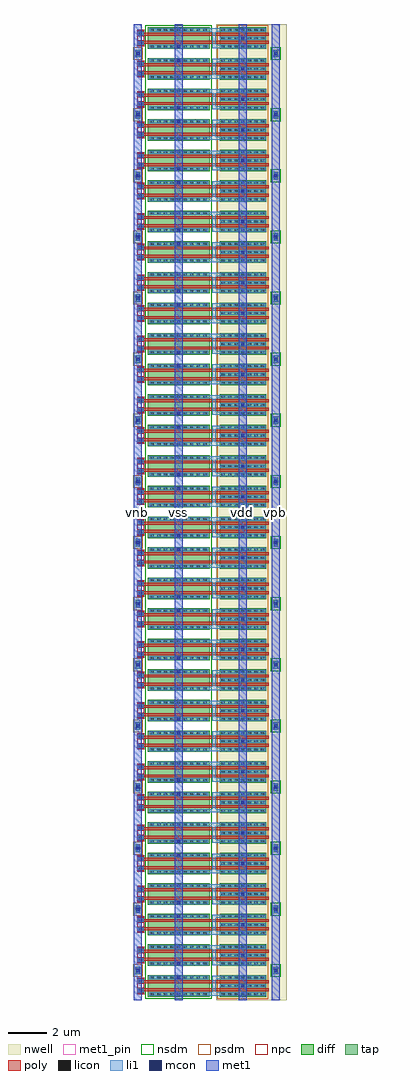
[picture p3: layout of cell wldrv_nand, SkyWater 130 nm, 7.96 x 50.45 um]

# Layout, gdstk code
import gdstk
lib = gdstk.Library(unit=1e-6, precision=1e-09)
def R(c, l, rs):  # rectangles x0, y0, x1, y1
    for r in rs: c.add(gdstk.rectangle(r[:2], r[2:], *l))
def A(c, l, x, y, w, h, nx, ny, dx, dy):  # array of equal rectangles
    R(c, l, [(x+i*dx, y+j*dy, x+i*dx+w, y+j*dy+h) for i in range(nx) for j in range(ny)])
nwell = (64, 20)
diff = (65, 20)
tap = (65, 44)
poly = (66, 20)
licon = (66, 44)
li1 = (67, 20)
mcon = (67, 44)
met1_pin = (68, 16)
met1 = (68, 20)
nsdm = (93, 44)
psdm = (94, 20)
npc = (95, 20)

ntap_1x1v = lib.new_cell('ntap_1x1v')
R(ntap_1x1v, tap, [(-0.04,-0.12,0.21,0.29)])
R(ntap_1x1v, licon, [(0,0,0.17,0.17)])
R(ntap_1x1v, li1, [(0,-0.08,0.17,0.25)])
R(ntap_1x1v, nsdm, [(-0.165,-0.245,0.335,0.415)])

ptap_1x1v = lib.new_cell('ptap_1x1v')
R(ptap_1x1v, tap, [(-0.04,-0.12,0.21,0.29)])
R(ptap_1x1v, licon, [(0,0,0.17,0.17)])
R(ptap_1x1v, li1, [(0,-0.08,0.17,0.25)])
R(ptap_1x1v, psdm, [(-0.165,-0.245,0.335,0.415)])

viali_1x1v = lib.new_cell('viali_1x1v')
R(viali_1x1v, li1, [(0,0,0.17,0.17)])
R(viali_1x1v, mcon, [(0,0,0.17,0.17)])
R(viali_1x1v, met1, [(-0.03,-0.06,0.2,0.23)])

viali_1x1h = lib.new_cell('viali_1x1h')
R(viali_1x1h, li1, [(0,0,0.17,0.17)])
R(viali_1x1h, mcon, [(0,0,0.17,0.17)])
R(viali_1x1h, met1, [(-0.06,-0.03,0.23,0.2)])

wldrv_nand_route = lib.new_cell('wldrv_nand_route')
R(wldrv_nand_route, met1, [(-0.715,-0.18,-0.295,50.27), (1.39,-0.18,1.81,50.27), (4.71,-0.18,5.13,50.27), (6.415,-0.18,6.835,50.27)])
wldrv_nand_route.add(gdstk.Reference(viali_1x1v, (6.54,1.26)))
wldrv_nand_route.add(gdstk.Reference(viali_1x1v, (6.54,4.42)))
wldrv_nand_route.add(gdstk.Reference(viali_1x1v, (6.54,7.58)))
wldrv_nand_route.add(gdstk.Reference(viali_1x1v, (6.54,10.74)))
wldrv_nand_route.add(gdstk.Reference(viali_1x1v, (6.54,13.9)))
wldrv_nand_route.add(gdstk.Reference(viali_1x1v, (6.54,17.06)))
wldrv_nand_route.add(gdstk.Reference(viali_1x1v, (6.54,20.22)))
wldrv_nand_route.add(gdstk.Reference(viali_1x1v, (6.54,23.38)))
wldrv_nand_route.add(gdstk.Reference(viali_1x1v, (6.54,26.54)))
wldrv_nand_route.add(gdstk.Reference(viali_1x1v, (6.54,29.7)))
wldrv_nand_route.add(gdstk.Reference(viali_1x1v, (6.54,32.86)))
wldrv_nand_route.add(gdstk.Reference(viali_1x1v, (6.54,36.02)))
wldrv_nand_route.add(gdstk.Reference(viali_1x1v, (6.54,39.18)))
wldrv_nand_route.add(gdstk.Reference(viali_1x1v, (6.54,42.34)))
wldrv_nand_route.add(gdstk.Reference(viali_1x1v, (6.54,45.5)))
wldrv_nand_route.add(gdstk.Reference(viali_1x1v, (6.54,48.66)))
wldrv_nand_route.add(gdstk.Reference(viali_1x1v, (-0.59,1.26)))
wldrv_nand_route.add(gdstk.Reference(viali_1x1v, (-0.59,4.42)))
wldrv_nand_route.add(gdstk.Reference(viali_1x1v, (-0.59,7.58)))
wldrv_nand_route.add(gdstk.Reference(viali_1x1v, (-0.59,10.74)))
wldrv_nand_route.add(gdstk.Reference(viali_1x1v, (-0.59,13.9)))
wldrv_nand_route.add(gdstk.Reference(viali_1x1v, (-0.59,17.06)))
wldrv_nand_route.add(gdstk.Reference(viali_1x1v, (-0.59,20.22)))
wldrv_nand_route.add(gdstk.Reference(viali_1x1v, (-0.59,23.38)))
wldrv_nand_route.add(gdstk.Reference(viali_1x1v, (-0.59,26.54)))
wldrv_nand_route.add(gdstk.Reference(viali_1x1v, (-0.59,29.7)))
wldrv_nand_route.add(gdstk.Reference(viali_1x1v, (-0.59,32.86)))
wldrv_nand_route.add(gdstk.Reference(viali_1x1v, (-0.59,36.02)))
wldrv_nand_route.add(gdstk.Reference(viali_1x1v, (-0.59,39.18)))
wldrv_nand_route.add(gdstk.Reference(viali_1x1v, (-0.59,42.34)))
wldrv_nand_route.add(gdstk.Reference(viali_1x1v, (-0.59,45.5)))
wldrv_nand_route.add(gdstk.Reference(viali_1x1v, (-0.59,48.66)))
wldrv_nand_route.add(gdstk.Reference(viali_1x1h, (4.835,0.47)))
wldrv_nand_route.add(gdstk.Reference(viali_1x1h, (4.835,2.05)))
wldrv_nand_route.add(gdstk.Reference(viali_1x1h, (4.835,3.63)))
wldrv_nand_route.add(gdstk.Reference(viali_1x1h, (4.835,5.21)))
wldrv_nand_route.add(gdstk.Reference(viali_1x1h, (4.835,6.79)))
wldrv_nand_route.add(gdstk.Reference(viali_1x1h, (4.835,8.37)))
wldrv_nand_route.add(gdstk.Reference(viali_1x1h, (4.835,9.95)))
wldrv_nand_route.add(gdstk.Reference(viali_1x1h, (4.835,11.53)))
wldrv_nand_route.add(gdstk.Reference(viali_1x1h, (4.835,13.11)))
wldrv_nand_route.add(gdstk.Reference(viali_1x1h, (4.835,14.69)))
wldrv_nand_route.add(gdstk.Reference(viali_1x1h, (4.835,16.27)))
wldrv_nand_route.add(gdstk.Reference(viali_1x1h, (4.835,17.85)))
wldrv_nand_route.add(gdstk.Reference(viali_1x1h, (4.835,19.43)))
wldrv_nand_route.add(gdstk.Reference(viali_1x1h, (4.835,21.01)))
wldrv_nand_route.add(gdstk.Reference(viali_1x1h, (4.835,22.59)))
wldrv_nand_route.add(gdstk.Reference(viali_1x1h, (4.835,24.17)))
wldrv_nand_route.add(gdstk.Reference(viali_1x1h, (4.835,25.75)))
wldrv_nand_route.add(gdstk.Reference(viali_1x1h, (4.835,27.33)))
wldrv_nand_route.add(gdstk.Reference(viali_1x1h, (4.835,28.91)))
wldrv_nand_route.add(gdstk.Reference(viali_1x1h, (4.835,30.49)))
wldrv_nand_route.add(gdstk.Reference(viali_1x1h, (4.835,32.07)))
wldrv_nand_route.add(gdstk.Reference(viali_1x1h, (4.835,33.65)))
wldrv_nand_route.add(gdstk.Reference(viali_1x1h, (4.835,35.23)))
wldrv_nand_route.add(gdstk.Reference(viali_1x1h, (4.835,36.81)))
wldrv_nand_route.add(gdstk.Reference(viali_1x1h, (4.835,38.39)))
wldrv_nand_route.add(gdstk.Reference(viali_1x1h, (4.835,39.97)))
wldrv_nand_route.add(gdstk.Reference(viali_1x1h, (4.835,41.55)))
wldrv_nand_route.add(gdstk.Reference(viali_1x1h, (4.835,43.13)))
wldrv_nand_route.add(gdstk.Reference(viali_1x1h, (4.835,44.71)))
wldrv_nand_route.add(gdstk.Reference(viali_1x1h, (4.835,46.29)))
wldrv_nand_route.add(gdstk.Reference(viali_1x1h, (4.835,47.87)))
wldrv_nand_route.add(gdstk.Reference(viali_1x1h, (4.835,49.45)))
wldrv_nand_route.add(gdstk.Reference(viali_1x1h, (1.515,0.9)))
wldrv_nand_route.add(gdstk.Reference(viali_1x1h, (1.515,1.62)))
wldrv_nand_route.add(gdstk.Reference(viali_1x1h, (1.515,4.06)))
wldrv_nand_route.add(gdstk.Reference(viali_1x1h, (1.515,4.78)))
wldrv_nand_route.add(gdstk.Reference(viali_1x1h, (1.515,7.22)))
wldrv_nand_route.add(gdstk.Reference(viali_1x1h, (1.515,7.94)))
wldrv_nand_route.add(gdstk.Reference(viali_1x1h, (1.515,10.38)))
wldrv_nand_route.add(gdstk.Reference(viali_1x1h, (1.515,11.1)))
wldrv_nand_route.add(gdstk.Reference(viali_1x1h, (1.515,13.54)))
wldrv_nand_route.add(gdstk.Reference(viali_1x1h, (1.515,14.26)))
wldrv_nand_route.add(gdstk.Reference(viali_1x1h, (1.515,16.7)))
wldrv_nand_route.add(gdstk.Reference(viali_1x1h, (1.515,17.42)))
wldrv_nand_route.add(gdstk.Reference(viali_1x1h, (1.515,19.86)))
wldrv_nand_route.add(gdstk.Reference(viali_1x1h, (1.515,20.58)))
wldrv_nand_route.add(gdstk.Reference(viali_1x1h, (1.515,23.02)))
wldrv_nand_route.add(gdstk.Reference(viali_1x1h, (1.515,23.74)))
wldrv_nand_route.add(gdstk.Reference(viali_1x1h, (1.515,26.18)))
wldrv_nand_route.add(gdstk.Reference(viali_1x1h, (1.515,26.9)))
wldrv_nand_route.add(gdstk.Reference(viali_1x1h, (1.515,29.34)))
wldrv_nand_route.add(gdstk.Reference(viali_1x1h, (1.515,30.06)))
wldrv_nand_route.add(gdstk.Reference(viali_1x1h, (1.515,32.5)))
wldrv_nand_route.add(gdstk.Reference(viali_1x1h, (1.515,33.22)))
wldrv_nand_route.add(gdstk.Reference(viali_1x1h, (1.515,35.66)))
wldrv_nand_route.add(gdstk.Reference(viali_1x1h, (1.515,36.38)))
wldrv_nand_route.add(gdstk.Reference(viali_1x1h, (1.515,38.82)))
wldrv_nand_route.add(gdstk.Reference(viali_1x1h, (1.515,39.54)))
wldrv_nand_route.add(gdstk.Reference(viali_1x1h, (1.515,41.98)))
wldrv_nand_route.add(gdstk.Reference(viali_1x1h, (1.515,42.7)))
wldrv_nand_route.add(gdstk.Reference(viali_1x1h, (1.515,45.14)))
wldrv_nand_route.add(gdstk.Reference(viali_1x1h, (1.515,45.86)))
wldrv_nand_route.add(gdstk.Reference(viali_1x1h, (1.515,48.3)))
wldrv_nand_route.add(gdstk.Reference(viali_1x1h, (1.515,49.02)))

polyc_1x1h = lib.new_cell('polyc_1x1h')
R(polyc_1x1h, poly, [(-0.08,-0.05,0.25,0.22)])
R(polyc_1x1h, licon, [(0,0,0.17,0.17)])
R(polyc_1x1h, li1, [(-0.08,0,0.25,0.17)])
R(polyc_1x1h, npc, [(-0.1,-0.1,0.27,0.27)])

ndiffc_1x9h = lib.new_cell('ndiffc_1x9h')
R(ndiffc_1x9h, diff, [(-0.06,-0.04,2.95,0.21)])
A(ndiffc_1x9h, licon, 0, 0, 0.17, 0.17, 9, 1, 0.34, 0)
R(ndiffc_1x9h, li1, [(-0.08,0,2.97,0.17)])
R(ndiffc_1x9h, nsdm, [(-0.185,-0.165,3.075,0.335)])

pdiffc_1x7h = lib.new_cell('pdiffc_1x7h')
R(pdiffc_1x7h, nwell, [(-0.24,-0.22,2.45,0.39)])
R(pdiffc_1x7h, diff, [(-0.06,-0.04,2.27,0.21)])
A(pdiffc_1x7h, licon, 0, 0, 0.17, 0.17, 7, 1, 0.34, 0)
R(pdiffc_1x7h, li1, [(-0.08,0,2.29,0.17)])
R(pdiffc_1x7h, psdm, [(-0.185,-0.165,2.395,0.335)])

ptx__nmos_svt_3200_150_2 = lib.new_cell('ptx__nmos_svt_3200_150_2__pmos_svt_2400_150_2')
R(ptx__nmos_svt_3200_150_2, nwell, [(3.54,-0.18,6.3,1.29)])
R(ptx__nmos_svt_3200_150_2, diff, [(0,0,3.2,1.11), (3.72,0,6.12,1.11)])
R(ptx__nmos_svt_3200_150_2, poly, [(-0.19,0.265,6.25,0.415), (-0.19,0.695,6.25,0.845)])
R(ptx__nmos_svt_3200_150_2, nsdm, [(-0.125,-0.125,3.325,1.235)])
R(ptx__nmos_svt_3200_150_2, psdm, [(3.595,-0.125,6.245,1.235)])
R(ptx__nmos_svt_3200_150_2, npc, [(-0.54,0.13,-0.17,0.98)])
ptx__nmos_svt_3200_150_2.add(gdstk.Reference(polyc_1x1h, (-0.44,0.23)))
ptx__nmos_svt_3200_150_2.add(gdstk.Reference(polyc_1x1h, (-0.44,0.71)))
ptx__nmos_svt_3200_150_2.add(gdstk.Reference(ndiffc_1x9h, (0.155,0.04)))
ptx__nmos_svt_3200_150_2.add(gdstk.Reference(pdiffc_1x7h, (3.815,0.04)))
ptx__nmos_svt_3200_150_2.add(gdstk.Reference(pdiffc_1x7h, (3.815,0.47)))
ptx__nmos_svt_3200_150_2.add(gdstk.Reference(ndiffc_1x9h, (0.155,0.9)))
ptx__nmos_svt_3200_150_2.add(gdstk.Reference(pdiffc_1x7h, (3.815,0.9)))

wldrv_nand_nand = lib.new_cell('wldrv_nand_nand')
R(wldrv_nand_nand, li1, [(3.345,0.04,3.515,1.07), (3.345,0.04,6.105,0.21), (0.075,0.9,6.105,1.07)])
wldrv_nand_nand.add(gdstk.Reference(ptx__nmos_svt_3200_150_2, (0,0)))

wldrv_nand_array = lib.new_cell('wldrv_nand_array')
wldrv_nand_array.add(gdstk.Reference(wldrv_nand_nand, (0,1.11), x_reflection=True))
wldrv_nand_array.add(gdstk.Reference(wldrv_nand_nand, (0,1.58)))
wldrv_nand_array.add(gdstk.Reference(wldrv_nand_nand, (0,4.27), x_reflection=True))
wldrv_nand_array.add(gdstk.Reference(wldrv_nand_nand, (0,4.74)))
wldrv_nand_array.add(gdstk.Reference(wldrv_nand_nand, (0,7.43), x_reflection=True))
wldrv_nand_array.add(gdstk.Reference(wldrv_nand_nand, (0,7.9)))
wldrv_nand_array.add(gdstk.Reference(wldrv_nand_nand, (0,10.59), x_reflection=True))
wldrv_nand_array.add(gdstk.Reference(wldrv_nand_nand, (0,11.06)))
wldrv_nand_array.add(gdstk.Reference(wldrv_nand_nand, (0,13.75), x_reflection=True))
wldrv_nand_array.add(gdstk.Reference(wldrv_nand_nand, (0,14.22)))
wldrv_nand_array.add(gdstk.Reference(wldrv_nand_nand, (0,16.91), x_reflection=True))
wldrv_nand_array.add(gdstk.Reference(wldrv_nand_nand, (0,17.38)))
wldrv_nand_array.add(gdstk.Reference(wldrv_nand_nand, (0,20.07), x_reflection=True))
wldrv_nand_array.add(gdstk.Reference(wldrv_nand_nand, (0,20.54)))
wldrv_nand_array.add(gdstk.Reference(wldrv_nand_nand, (0,23.23), x_reflection=True))
wldrv_nand_array.add(gdstk.Reference(wldrv_nand_nand, (0,23.7)))
wldrv_nand_array.add(gdstk.Reference(wldrv_nand_nand, (0,26.39), x_reflection=True))
wldrv_nand_array.add(gdstk.Reference(wldrv_nand_nand, (0,26.86)))
wldrv_nand_array.add(gdstk.Reference(wldrv_nand_nand, (0,29.55), x_reflection=True))
wldrv_nand_array.add(gdstk.Reference(wldrv_nand_nand, (0,30.02)))
wldrv_nand_array.add(gdstk.Reference(wldrv_nand_nand, (0,32.71), x_reflection=True))
wldrv_nand_array.add(gdstk.Reference(wldrv_nand_nand, (0,33.18)))
wldrv_nand_array.add(gdstk.Reference(wldrv_nand_nand, (0,35.87), x_reflection=True))
wldrv_nand_array.add(gdstk.Reference(wldrv_nand_nand, (0,36.34)))
wldrv_nand_array.add(gdstk.Reference(wldrv_nand_nand, (0,39.03), x_reflection=True))
wldrv_nand_array.add(gdstk.Reference(wldrv_nand_nand, (0,39.5)))
wldrv_nand_array.add(gdstk.Reference(wldrv_nand_nand, (0,42.19), x_reflection=True))
wldrv_nand_array.add(gdstk.Reference(wldrv_nand_nand, (0,42.66)))
wldrv_nand_array.add(gdstk.Reference(wldrv_nand_nand, (0,45.35), x_reflection=True))
wldrv_nand_array.add(gdstk.Reference(wldrv_nand_nand, (0,45.82)))
wldrv_nand_array.add(gdstk.Reference(wldrv_nand_nand, (0,48.51), x_reflection=True))
wldrv_nand_array.add(gdstk.Reference(wldrv_nand_nand, (0,48.98)))

wldrv_nand = lib.new_cell('wldrv_nand')
R(wldrv_nand, nwell, [(3.54,-0.18,7.2,50.27)])
R(wldrv_nand, met1_pin, [(-0.715,-0.18,-0.295,50.27), (1.39,-0.18,1.81,50.27), (4.71,-0.18,5.13,50.27), (6.415,-0.18,6.835,50.27)])
R(wldrv_nand, nsdm, [(-0.125,-0.125,3.325,50.215)])
R(wldrv_nand, psdm, [(3.595,-0.125,6.245,50.215)])
wldrv_nand.add(gdstk.Reference(ntap_1x1v, (6.54,1.26)))
wldrv_nand.add(gdstk.Reference(ntap_1x1v, (6.54,4.42)))
wldrv_nand.add(gdstk.Reference(ntap_1x1v, (6.54,7.58)))
wldrv_nand.add(gdstk.Reference(ntap_1x1v, (6.54,10.74)))
wldrv_nand.add(gdstk.Reference(ntap_1x1v, (6.54,13.9)))
wldrv_nand.add(gdstk.Reference(ntap_1x1v, (6.54,17.06)))
wldrv_nand.add(gdstk.Reference(ntap_1x1v, (6.54,20.22)))
wldrv_nand.add(gdstk.Reference(ntap_1x1v, (6.54,23.38)))
wldrv_nand.add(gdstk.Reference(ntap_1x1v, (6.54,26.54)))
wldrv_nand.add(gdstk.Reference(ntap_1x1v, (6.54,29.7)))
wldrv_nand.add(gdstk.Reference(ntap_1x1v, (6.54,32.86)))
wldrv_nand.add(gdstk.Reference(ntap_1x1v, (6.54,36.02)))
wldrv_nand.add(gdstk.Reference(ntap_1x1v, (6.54,39.18)))
wldrv_nand.add(gdstk.Reference(ntap_1x1v, (6.54,42.34)))
wldrv_nand.add(gdstk.Reference(ntap_1x1v, (6.54,45.5)))
wldrv_nand.add(gdstk.Reference(ntap_1x1v, (6.54,48.66)))
wldrv_nand.add(gdstk.Reference(ptap_1x1v, (-0.59,1.26)))
wldrv_nand.add(gdstk.Reference(ptap_1x1v, (-0.59,4.42)))
wldrv_nand.add(gdstk.Reference(ptap_1x1v, (-0.59,7.58)))
wldrv_nand.add(gdstk.Reference(ptap_1x1v, (-0.59,10.74)))
wldrv_nand.add(gdstk.Reference(ptap_1x1v, (-0.59,13.9)))
wldrv_nand.add(gdstk.Reference(ptap_1x1v, (-0.59,17.06)))
wldrv_nand.add(gdstk.Reference(ptap_1x1v, (-0.59,20.22)))
wldrv_nand.add(gdstk.Reference(ptap_1x1v, (-0.59,23.38)))
wldrv_nand.add(gdstk.Reference(ptap_1x1v, (-0.59,26.54)))
wldrv_nand.add(gdstk.Reference(ptap_1x1v, (-0.59,29.7)))
wldrv_nand.add(gdstk.Reference(ptap_1x1v, (-0.59,32.86)))
wldrv_nand.add(gdstk.Reference(ptap_1x1v, (-0.59,36.02)))
wldrv_nand.add(gdstk.Reference(ptap_1x1v, (-0.59,39.18)))
wldrv_nand.add(gdstk.Reference(ptap_1x1v, (-0.59,42.34)))
wldrv_nand.add(gdstk.Reference(ptap_1x1v, (-0.59,45.5)))
wldrv_nand.add(gdstk.Reference(ptap_1x1v, (-0.59,48.66)))
wldrv_nand.add(gdstk.Reference(wldrv_nand_route, (0,0)))
wldrv_nand.add(gdstk.Reference(wldrv_nand_array, (0,0)))
wldrv_nand.add(gdstk.Label('vpb', (6.625,25.045), layer=68, texttype=16))
wldrv_nand.add(gdstk.Label('vnb', (-0.505,25.045), layer=68, texttype=16))
wldrv_nand.add(gdstk.Label('vdd', (4.92,25.045), layer=68, texttype=16))
wldrv_nand.add(gdstk.Label('vss', (1.6,25.045), layer=68, texttype=16))

lib.write_gds('wldrv_nand.gds')
